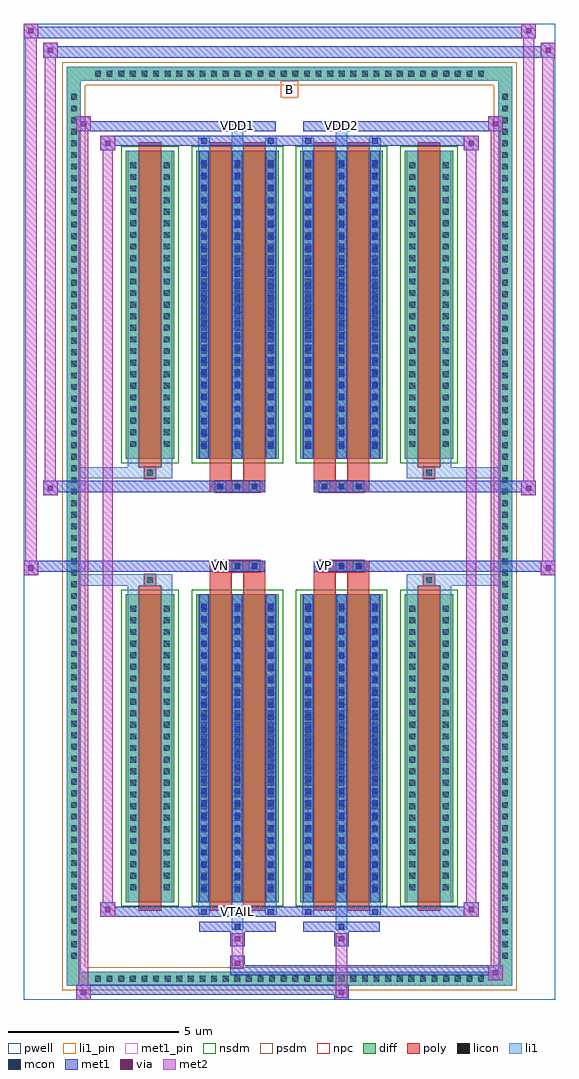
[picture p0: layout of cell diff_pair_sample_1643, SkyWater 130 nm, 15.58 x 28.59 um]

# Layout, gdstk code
import gdstk
lib = gdstk.Library(unit=1e-6, precision=5e-09)
def R(c, l, rs):  # rectangles x0, y0, x1, y1
    for r in rs: c.add(gdstk.rectangle(r[:2], r[2:], *l))
def A(c, l, x, y, w, h, nx, ny, dx, dy):  # array of equal rectangles
    R(c, l, [(x+i*dx, y+j*dy, x+i*dx+w, y+j*dy+h) for i in range(nx) for j in range(ny)])
def P(c, l, *ps):  # polygons
    for p in ps: c.add(gdstk.Polygon(p, *l))
pwell = (64, 44)
diff = (65, 20)
poly = (66, 20)
licon = (66, 44)
li1_pin = (67, 16)
li1 = (67, 20)
mcon = (67, 44)
met1_pin = (68, 16)
met1 = (68, 20)
via = (68, 44)
met2 = (69, 20)
nsdm = (93, 44)
psdm = (94, 20)
npc = (95, 20)

diff_pair_sample_1643 = lib.new_cell('diff_pair_sample_1643')
R(diff_pair_sample_1643, pwell, [(-7.79,-13.86,7.79,14.73), (-5.11,-12.05,-0.01,-0.805), (0.01,-12.05,5.11,-0.805), (-5.11,0.805,-0.01,12.05), (0.01,0.805,5.11,12.05)])
A(diff_pair_sample_1643, diff, -5.815, -13.46, 0.41, 0.41, 34, 2, 0.34, 26.51)
A(diff_pair_sample_1643, diff, -6.52, -12.785, 0.41, 0.41, 1, 75, 0, 0.34)
A(diff_pair_sample_1643, diff, 6.11, -12.785, 0.41, 0.41, 1, 75, 0, 0.34)
R(diff_pair_sample_1643, diff, [(-5.815,-13.46,5.815,-13.05), (-6.52,-12.785,-6.11,12.785), (6.11,-12.785,6.52,12.785), (-4.8,-11.005,-3.37,-1.985), (-2.73,-11.005,-0.32,-1.985), (0.32,-11.005,2.73,-1.985), (3.37,-11.005,4.8,-1.985), (-4.8,1.985,-3.37,11.005), (-2.73,1.985,-0.32,11.005), (0.32,1.985,2.73,11.005), (3.37,1.985,4.8,11.005), (-5.815,13.05,5.815,13.46)])
P(diff_pair_sample_1643, diff, [(6.52,13.46),(-6.52,13.46),(-6.52,-13.05),(-6.11,-13.05),(-6.11,13.05),(6.11,13.05),(6.11,-13.05),(-6.11,-13.05),(-6.52,-13.05),(-6.52,-13.46),(6.52,-13.46)])
A(diff_pair_sample_1643, poly, -2.19, -1.335, 0.33, 0.33, 3, 2, 0.5, 2.34)
A(diff_pair_sample_1643, poly, 0.86, -1.335, 0.33, 0.33, 3, 2, 0.5, 2.34)
R(diff_pair_sample_1643, poly, [(-4.41,-11.255,-3.76,-1.735), (-2.34,-11.255,-1.69,-1.735), (-1.36,-11.255,-0.71,-1.735), (0.71,-11.255,1.36,-1.735), (1.69,-11.255,2.34,-1.735), (3.76,-11.255,4.41,-1.735), (-4.25,-1.735,-3.92,-1.405), (-4.25,-1.735,-3.92,-1.405), (-2.34,-1.735,-1.69,-1.335), (-1.36,-1.735,-0.71,-1.335), (0.71,-1.735,1.36,-1.335), (1.69,-1.735,2.34,-1.335), (3.92,-1.735,4.25,-1.405), (3.92,-1.735,4.25,-1.405), (-2.34,-1.335,-0.71,-1.005), (0.71,-1.335,2.34,-1.005), (-2.34,1.005,-0.71,1.335), (0.71,1.005,2.34,1.335), (-2.34,1.335,-1.69,1.735), (-1.36,1.335,-0.71,1.735), (0.71,1.335,1.36,1.735), (1.69,1.335,2.34,1.735), (-4.25,1.405,-3.92,1.735), (-4.25,1.405,-3.92,1.735), (3.92,1.405,4.25,1.735), (3.92,1.405,4.25,1.735), (-4.41,1.735,-3.76,11.255), (-2.34,1.735,-1.69,11.255), (-1.36,1.735,-0.71,11.255), (0.71,1.735,1.36,11.255), (1.69,1.735,2.34,11.255), (3.76,1.735,4.41,11.255)])
A(diff_pair_sample_1643, licon, -5.695, -13.34, 0.17, 0.17, 34, 2, 0.34, 26.51)
A(diff_pair_sample_1643, licon, -6.4, -12.665, 0.17, 0.17, 1, 75, 0, 0.34)
A(diff_pair_sample_1643, licon, 6.23, -12.665, 0.17, 0.17, 1, 75, 0, 0.34)
A(diff_pair_sample_1643, licon, -4.66, -10.66, 0.17, 0.17, 1, 25, 0, 0.34)
A(diff_pair_sample_1643, licon, -3.68, -10.66, 0.17, 0.17, 1, 25, 0, 0.34)
A(diff_pair_sample_1643, licon, -2.59, -10.66, 0.17, 0.17, 3, 25, 0.98, 0.34)
A(diff_pair_sample_1643, licon, 0.46, -10.66, 0.17, 0.17, 3, 25, 0.98, 0.34)
A(diff_pair_sample_1643, licon, 3.51, -10.66, 0.17, 0.17, 1, 25, 0, 0.34)
A(diff_pair_sample_1643, licon, 4.49, -10.66, 0.17, 0.17, 1, 25, 0, 0.34)
A(diff_pair_sample_1643, licon, -2.11, -1.255, 0.17, 0.17, 3, 2, 0.5, 2.34)
A(diff_pair_sample_1643, licon, 0.94, -1.255, 0.17, 0.17, 3, 2, 0.5, 2.34)
A(diff_pair_sample_1643, licon, -4.66, 2.33, 0.17, 0.17, 1, 25, 0, 0.34)
A(diff_pair_sample_1643, licon, -3.68, 2.33, 0.17, 0.17, 1, 25, 0, 0.34)
A(diff_pair_sample_1643, licon, -2.59, 2.33, 0.17, 0.17, 3, 25, 0.98, 0.34)
A(diff_pair_sample_1643, licon, 0.46, 2.33, 0.17, 0.17, 3, 25, 0.98, 0.34)
A(diff_pair_sample_1643, licon, 3.51, 2.33, 0.17, 0.17, 1, 25, 0, 0.34)
A(diff_pair_sample_1643, licon, 4.49, 2.33, 0.17, 0.17, 1, 25, 0, 0.34)
R(diff_pair_sample_1643, licon, [(-4.17,-1.655,-4,-1.485), (4,-1.655,4.17,-1.485), (-4.17,1.485,-4,1.655), (4,1.485,4.17,1.655)])
R(diff_pair_sample_1643, li1_pin, [(-0.25,12.55,0.25,13.05)])
A(diff_pair_sample_1643, li1, -5.775, -13.42, 0.33, 0.33, 34, 2, 0.34, 26.51)
A(diff_pair_sample_1643, li1, -6.48, -12.745, 0.33, 0.33, 1, 75, 0, 0.34)
A(diff_pair_sample_1643, li1, 6.15, -12.745, 0.33, 0.33, 1, 75, 0, 0.34)
A(diff_pair_sample_1643, li1, -2.67, -11.005, 0.33, 9.02, 3, 2, 0.98, 12.99)
A(diff_pair_sample_1643, li1, 0.38, -11.005, 0.33, 9.02, 3, 2, 0.98, 12.99)
A(diff_pair_sample_1643, li1, -4.74, -10.74, 0.33, 0.33, 1, 25, 0, 0.34)
A(diff_pair_sample_1643, li1, -3.76, -10.74, 0.33, 0.33, 1, 25, 0, 0.34)
A(diff_pair_sample_1643, li1, -2.67, -10.74, 0.33, 0.33, 3, 25, 0.98, 0.34)
A(diff_pair_sample_1643, li1, 0.38, -10.74, 0.33, 0.33, 3, 25, 0.98, 0.34)
A(diff_pair_sample_1643, li1, 3.43, -10.74, 0.33, 0.33, 1, 25, 0, 0.34)
A(diff_pair_sample_1643, li1, 4.41, -10.74, 0.33, 0.33, 1, 25, 0, 0.34)
A(diff_pair_sample_1643, li1, -2.59, -10.72, 0.17, 0.17, 3, 24, 0.98, 0.36)
A(diff_pair_sample_1643, li1, -2.59, -10.72, 0.17, 8.45, 3, 2, 0.98, 12.99)
A(diff_pair_sample_1643, li1, 0.46, -10.72, 0.17, 0.17, 3, 24, 0.98, 0.36)
A(diff_pair_sample_1643, li1, 0.46, -10.72, 0.17, 8.45, 3, 2, 0.98, 12.99)
A(diff_pair_sample_1643, li1, -2.19, -1.335, 0.33, 0.33, 3, 2, 0.5, 2.34)
A(diff_pair_sample_1643, li1, 0.86, -1.335, 0.33, 0.33, 3, 2, 0.5, 2.34)
A(diff_pair_sample_1643, li1, -4.74, 2.25, 0.33, 0.33, 1, 25, 0, 0.34)
A(diff_pair_sample_1643, li1, -3.76, 2.25, 0.33, 0.33, 1, 25, 0, 0.34)
A(diff_pair_sample_1643, li1, -2.67, 2.25, 0.33, 0.33, 3, 25, 0.98, 0.34)
A(diff_pair_sample_1643, li1, 0.38, 2.25, 0.33, 0.33, 3, 25, 0.98, 0.34)
A(diff_pair_sample_1643, li1, 3.43, 2.25, 0.33, 0.33, 1, 25, 0, 0.34)
A(diff_pair_sample_1643, li1, 4.41, 2.25, 0.33, 0.33, 1, 25, 0, 0.34)
A(diff_pair_sample_1643, li1, -2.59, 2.27, 0.17, 0.17, 3, 24, 0.98, 0.36)
A(diff_pair_sample_1643, li1, 0.46, 2.27, 0.17, 0.17, 3, 24, 0.98, 0.36)
R(diff_pair_sample_1643, li1, [(-6.52,-13.46,-6.11,-13.05), (-6.52,-13.46,-6.11,-13.05), (-6.11,-13.46,6.11,-13.05), (6.11,-13.46,6.52,-13.05), (6.11,-13.46,6.52,-13.05), (-6.52,-13.05,-6.11,13.05), (6.11,-13.05,6.52,13.05), (-1.69,-11.81,-1.36,-11.005), (-1.61,-11.81,-1.44,-11.64), (1.36,-11.81,1.69,-11.005), (1.44,-11.81,1.61,-11.64), (-2.67,-11.38,-2.34,-11.005), (-2.59,-11.38,-2.42,-11.21), (-0.71,-11.38,-0.38,-11.005), (-0.63,-11.38,-0.46,-11.21), (0.38,-11.38,0.71,-11.005), (0.46,-11.38,0.63,-11.21), (2.34,-11.38,2.67,-11.005), (2.42,-11.38,2.59,-11.21), (-4.74,-11.005,-4.41,-1.985), (-3.76,-11.005,-3.43,-1.985), (3.43,-11.005,3.76,-1.985), (4.41,-11.005,4.74,-1.985), (-4.74,-1.985,-4.41,-1.405), (-3.76,-1.985,-3.43,-1.405), (3.43,-1.985,3.76,-1.405), (4.41,-1.985,4.74,-1.405), (-6.52,-1.735,-4.25,-1.405), (-4.74,-1.735,-4.25,-1.405), (-4.25,-1.735,-3.92,-1.405), (-3.92,-1.735,-3.43,-1.405), (3.43,-1.735,3.92,-1.405), (3.92,-1.735,4.25,-1.405), (3.92,-1.735,6.52,-1.405), (4.25,-1.735,4.74,-1.405), (-6.52,1.405,-4.25,1.735), (-4.74,1.405,-4.25,1.735), (-4.74,1.405,-4.41,1.985), (-4.25,1.405,-3.92,1.735), (-3.92,1.405,-3.43,1.735), (-3.76,1.405,-3.43,1.985), (3.43,1.405,3.92,1.735), (3.43,1.405,3.76,1.985), (3.92,1.405,4.25,1.735), (3.92,1.405,6.52,1.735), (4.25,1.405,4.74,1.735), (4.41,1.405,4.74,1.985), (-4.74,1.985,-4.41,11.005), (-3.76,1.985,-3.43,11.005), (3.43,1.985,3.76,11.005), (4.41,1.985,4.74,11.005), (-2.67,11.005,-2.34,11.38), (-1.69,11.005,-1.36,11.81), (-0.71,11.005,-0.38,11.38), (0.38,11.005,0.71,11.38), (1.36,11.005,1.69,11.81), (2.34,11.005,2.67,11.38), (-2.59,11.21,-2.42,11.38), (-0.63,11.21,-0.46,11.38), (0.46,11.21,0.63,11.38), (2.42,11.21,2.59,11.38), (-1.61,11.64,-1.44,11.81), (1.44,11.64,1.61,11.81), (-6.52,13.05,-6.11,13.46), (-6.52,13.05,-6.11,13.46), (-6.11,13.05,6.11,13.46), (6.11,13.05,6.52,13.46), (6.11,13.05,6.52,13.46)])
A(diff_pair_sample_1643, mcon, -2.59, -10.72, 0.17, 0.17, 3, 24, 0.98, 0.36)
A(diff_pair_sample_1643, mcon, 0.46, -10.72, 0.17, 0.17, 3, 24, 0.98, 0.36)
A(diff_pair_sample_1643, mcon, -2.11, -1.255, 0.17, 0.17, 3, 2, 0.5, 2.34)
A(diff_pair_sample_1643, mcon, 0.94, -1.255, 0.17, 0.17, 3, 2, 0.5, 2.34)
A(diff_pair_sample_1643, mcon, -2.59, 2.27, 0.17, 0.17, 3, 24, 0.98, 0.36)
A(diff_pair_sample_1643, mcon, 0.46, 2.27, 0.17, 0.17, 3, 24, 0.98, 0.36)
R(diff_pair_sample_1643, mcon, [(-1.61,-11.81,-1.44,-11.64), (1.44,-11.81,1.61,-11.64), (-2.59,-11.38,-2.42,-11.21), (-0.63,-11.38,-0.46,-11.21), (0.46,-11.38,0.63,-11.21), (2.42,-11.38,2.59,-11.21), (-2.59,11.21,-2.42,11.38), (-0.63,11.21,-0.46,11.38), (0.46,11.21,0.63,11.38), (2.42,11.21,2.59,11.38), (-1.61,11.64,-1.44,11.81), (1.44,11.64,1.61,11.81)])
R(diff_pair_sample_1643, met1_pin, [(-1.66,-11.42,-1.39,-11.15), (-2.16,-1.295,-1.89,-1.025), (0.89,-1.295,1.16,-1.025), (-1.66,11.6,-1.39,11.87), (1.39,11.6,1.66,11.87)])
A(diff_pair_sample_1643, met1, -2.65, -11.005, 0.29, 9.02, 3, 2, 0.98, 12.99)
A(diff_pair_sample_1643, met1, 0.4, -11.005, 0.29, 9.02, 3, 2, 0.98, 12.99)
A(diff_pair_sample_1643, met1, -2.65, -10.78, 0.29, 0.29, 3, 24, 0.98, 0.36)
A(diff_pair_sample_1643, met1, 0.4, -10.78, 0.29, 0.29, 3, 24, 0.98, 0.36)
A(diff_pair_sample_1643, met1, -2.17, -1.315, 0.29, 0.29, 3, 2, 0.5, 2.34)
A(diff_pair_sample_1643, met1, 0.88, -1.315, 0.29, 0.29, 3, 2, 0.5, 2.34)
A(diff_pair_sample_1643, met1, -2.65, 2.21, 0.29, 0.29, 3, 24, 0.98, 0.36)
A(diff_pair_sample_1643, met1, 0.4, 2.21, 0.29, 0.29, 3, 24, 0.98, 0.36)
R(diff_pair_sample_1643, met1, [(-6.25,-13.86,-5.82,-13.43), (1.31,-13.86,1.74,-13.43), (-6.25,-13.72,1.74,-13.43), (5.82,-13.29,6.25,-12.86), (-1.74,-13.15,6.25,-12.86), (-1.74,-13.01,-1.31,-12.58), (-1.74,-12.3,-1.31,-11.87), (1.31,-12.3,1.74,-11.87), (-2.65,-11.87,-0.4,-11.58), (-1.67,-11.87,-1.38,-11.58), (0.4,-11.87,2.65,-11.58), (1.38,-11.87,1.67,-11.58), (-5.54,-11.44,-5.11,-11.01), (-5.54,-11.44,-2.65,-11.15), (-2.65,-11.44,-2.36,-11.15), (-2.65,-11.44,-0.4,-11.15), (-0.69,-11.44,-0.4,-11.15), (-0.4,-11.44,0.4,-11.15), (0.4,-11.44,0.69,-11.15), (0.4,-11.44,2.65,-11.15), (2.36,-11.44,2.65,-11.15), (2.65,-11.44,5.54,-11.15), (5.11,-11.44,5.54,-11.01), (-7.79,-1.435,-7.36,-1.005), (7.36,-1.435,7.79,-1.005), (-7.79,-1.335,-0.71,-1.005), (-2.34,-1.335,-0.71,-1.005), (0.71,-1.335,2.34,-1.005), (0.71,-1.335,7.79,-1.005), (-7.22,0.905,-6.79,1.335), (6.79,0.905,7.22,1.335), (-7.22,1.005,-2.34,1.335), (-2.34,1.005,-0.71,1.335), (0.71,1.005,2.34,1.335), (2.34,1.005,7.22,1.335), (-5.54,11.01,-5.11,11.44), (5.11,11.01,5.54,11.44), (-5.54,11.15,-2.65,11.44), (-2.65,11.15,-2.36,11.44), (-2.65,11.15,-0.4,11.44), (-0.69,11.15,-0.4,11.44), (-0.4,11.15,0.4,11.44), (0.4,11.15,0.69,11.44), (0.4,11.15,2.65,11.44), (2.36,11.15,2.65,11.44), (2.65,11.15,5.54,11.44), (-6.25,11.58,-5.82,12.01), (-6.25,11.58,-2.65,11.87), (-2.65,11.58,-0.4,11.87), (-1.67,11.58,-1.38,11.87), (0.4,11.58,2.65,11.87), (1.38,11.58,1.67,11.87), (2.65,11.58,6.25,11.87), (5.82,11.58,6.25,12.01), (-7.22,13.73,-6.79,14.16), (-7.22,13.73,-5.11,14.06), (-5.11,13.73,5.11,14.06), (5.11,13.73,7.79,14.06), (7.36,13.73,7.79,14.16), (-7.79,14.3,-7.36,14.73), (-7.79,14.3,-5.11,14.63), (-5.11,14.3,5.11,14.63), (5.11,14.3,7.22,14.63), (6.79,14.3,7.22,14.73)])
R(diff_pair_sample_1643, via, [(-6.11,-13.72,-5.96,-13.57), (1.45,-13.72,1.6,-13.57), (5.96,-13.15,6.11,-13), (-1.6,-12.87,-1.45,-12.72), (-1.6,-12.16,-1.45,-12.01), (1.45,-12.16,1.6,-12.01), (-5.4,-11.3,-5.25,-11.15), (5.25,-11.3,5.4,-11.15), (-7.65,-1.295,-7.5,-1.145), (7.5,-1.295,7.65,-1.145), (-7.08,1.045,-6.93,1.195), (6.93,1.045,7.08,1.195), (-5.4,11.15,-5.25,11.3), (5.25,11.15,5.4,11.3), (-6.11,11.72,-5.96,11.87), (5.96,11.72,6.11,11.87), (-7.08,13.87,-6.93,14.02), (7.5,13.87,7.65,14.02), (-7.65,14.44,-7.5,14.59), (6.93,14.44,7.08,14.59)])
R(diff_pair_sample_1643, met2, [(-6.25,-13.86,-5.82,-13.43), (-6.18,-13.86,-5.89,12.01), (-5.89,-13.86,-5.82,-13.43), (-6.2,-13.81,-5.87,-13.48), (1.36,-13.81,1.69,-13.48), (1.36,-13.48,1.69,-12.25), (5.82,-13.29,6.25,-12.86), (5.89,-13.29,6.18,12.01), (6.18,-13.29,6.25,-12.86), (5.87,-13.24,6.2,-12.91), (-1.69,-12.96,-1.36,-12.63), (-1.69,-12.63,-1.36,-12.25), (-1.69,-12.25,-1.36,-11.92), (1.36,-12.25,1.69,-11.92), (-5.54,-11.44,-5.11,-11.01), (-5.47,-11.44,-5.18,11.44), (-5.18,-11.44,-5.11,-11.01), (5.11,-11.44,5.54,-11.01), (5.18,-11.44,5.47,11.44), (5.47,-11.44,5.54,-11.01), (-5.49,-11.39,-5.16,-11.06), (5.16,-11.39,5.49,-11.06), (-7.79,-1.435,-7.36,-1.005), (-7.74,-1.435,-7.41,14.73), (-7.41,-1.435,-7.36,-1.005), (7.36,-1.435,7.79,-1.005), (7.41,-1.435,7.74,14.16), (7.74,-1.435,7.79,-1.005), (-7.74,-1.385,-7.41,-1.055), (7.41,-1.385,7.74,-1.055), (-7.22,0.905,-6.79,1.335), (-7.17,0.905,-6.84,14.16), (-6.84,0.905,-6.79,1.335), (6.79,0.905,7.22,1.335), (6.84,0.905,7.17,14.73), (7.17,0.905,7.22,1.335), (-7.17,0.955,-6.84,1.285), (6.84,0.955,7.17,1.285), (-5.54,11.01,-5.11,11.44), (-5.18,11.01,-5.11,11.44), (5.11,11.01,5.54,11.44), (5.47,11.01,5.54,11.44), (-5.49,11.06,-5.16,11.39), (5.16,11.06,5.49,11.39), (-6.25,11.58,-5.82,12.01), (-5.89,11.58,-5.82,12.01), (5.82,11.58,6.25,12.01), (6.18,11.58,6.25,12.01), (-6.2,11.63,-5.87,11.96), (5.87,11.63,6.2,11.96), (-7.22,13.73,-6.79,14.16), (-6.84,13.73,-6.79,14.16), (7.36,13.73,7.79,14.16), (7.74,13.73,7.79,14.16), (-7.17,13.78,-6.84,14.11), (7.41,13.78,7.74,14.11), (-7.79,14.3,-7.36,14.73), (-7.41,14.3,-7.36,14.73), (6.79,14.3,7.22,14.73), (7.17,14.3,7.22,14.73), (-7.74,14.35,-7.41,14.68), (6.84,14.35,7.17,14.68)])
R(diff_pair_sample_1643, nsdm, [(-4.93,-11.135,-3.24,-1.855), (-2.86,-11.135,-0.19,-1.855), (0.19,-11.135,2.86,-1.855), (3.24,-11.135,4.93,-1.855), (-4.93,1.855,-3.24,11.135), (-2.86,1.855,-0.19,11.135), (0.19,1.855,2.86,11.135), (3.24,1.855,4.93,11.135)])
P(diff_pair_sample_1643, psdm, [(6.65,13.59),(-6.65,13.59),(-6.65,-12.92),(-5.98,-12.92),(-5.98,12.92),(5.98,12.92),(5.98,-12.92),(-5.98,-12.92),(-6.65,-12.92),(-6.65,-13.59),(6.65,-13.59)])
A(diff_pair_sample_1643, npc, -2.21, -1.355, 0.37, 0.37, 3, 2, 0.5, 2.34)
A(diff_pair_sample_1643, npc, 0.84, -1.355, 0.37, 0.37, 3, 2, 0.5, 2.34)
R(diff_pair_sample_1643, npc, [(-4.27,-1.755,-3.9,-1.385), (3.9,-1.755,4.27,-1.385), (-2.21,-1.355,-1.34,-0.985), (-2.21,-1.355,-1.34,-0.985), (-1.71,-1.355,-0.84,-0.985), (-1.71,-1.355,-0.84,-0.985), (0.84,-1.355,1.71,-0.985), (0.84,-1.355,1.71,-0.985), (1.34,-1.355,2.21,-0.985), (1.34,-1.355,2.21,-0.985), (-2.21,0.985,-1.34,1.355), (-2.21,0.985,-1.34,1.355), (-1.71,0.985,-0.84,1.355), (-1.71,0.985,-0.84,1.355), (0.84,0.985,1.71,1.355), (0.84,0.985,1.71,1.355), (1.34,0.985,2.21,1.355), (1.34,0.985,2.21,1.355), (-4.27,1.385,-3.9,1.755), (3.9,1.385,4.27,1.755)])
diff_pair_sample_1643.add(gdstk.Label('VTAIL', (-1.525,-11.285), layer=68, texttype=5))
diff_pair_sample_1643.add(gdstk.Label('VN', (-2.025,-1.16), layer=68, texttype=5))
diff_pair_sample_1643.add(gdstk.Label('VP', (1.025,-1.16), layer=68, texttype=5))
diff_pair_sample_1643.add(gdstk.Label('B', (0,12.8), layer=67, texttype=5))
diff_pair_sample_1643.add(gdstk.Label('VDD2', (1.525,11.735), layer=68, texttype=5))
diff_pair_sample_1643.add(gdstk.Label('VDD1', (-1.525,11.735), layer=68, texttype=5))

lib.write_gds('diff_pair_sample_1643.gds')
